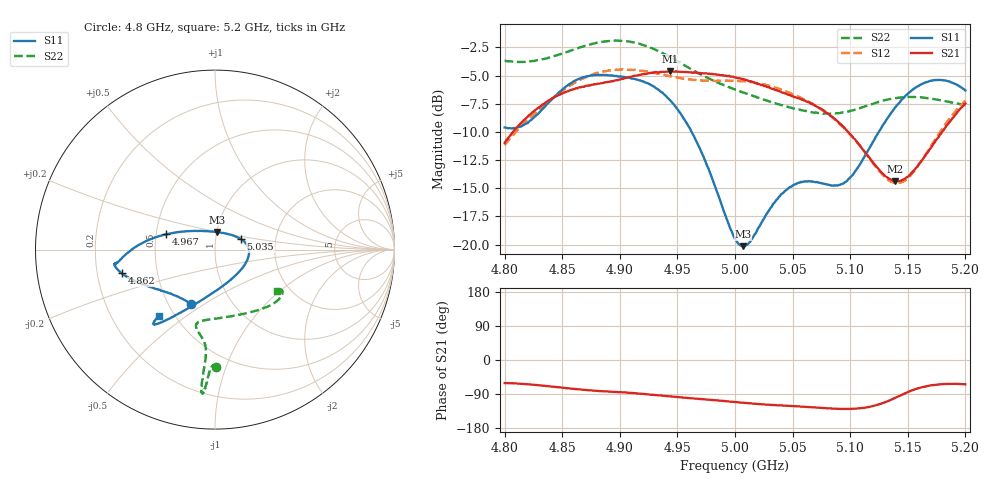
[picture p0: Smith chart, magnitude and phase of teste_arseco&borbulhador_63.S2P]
! Network Analyzer HP8722D
! Hewlett-Packard
! Data name: Linha & Wilkinson
! Saver's name: Rodrigo Anjos
! Comments: Teste da utilização de aquisição
! continua pelo VNA HP8722D
! Time and date: 15/4/2025 16:09
!  Frequency  S11  S21  S12  S22
# HZ  S  MA R 50
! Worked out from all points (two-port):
!   401 points, 4.8 GHz to 5.2 GHz, reference 50 ohm
!   highest |S21| = -4.63 dB at 4.944 GHz (marker M1); lowest = -14.4 dB at 5.139 GHz (marker M2)
!   |S21| within 3 dB of the highest: 4.832 GHz to 5.069 GHz (236.8 MHz wide, 4.78 % of centre); 5.198522 GHz to end of sweep
!   lowest |S11| = -20.1 dB at 5.007 GHz (marker M3), VSWR 1.22, Z = 50.2 + j9.9 ohm
!   |S11| at or under -10 dB: 4.962 GHz to 5.125 GHz (162.6 MHz wide, 3.22 % of centre)
!   |S22| runs from -8.4 to -1.9 dB; largest |S21 - S12| = 0.88
!   S11 on the Smith chart (normalised r, x): 4.8 GHz: 0.65, -0.44; 4.862 GHz: 0.31, -0.11; 4.967 GHz: 0.57, +0.11; 5.035 GHz: 1.32, +0.16; 5.2 GHz: 0.41, -0.40
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4.8e9  0.3309 -113.9  0.2823 -60.8  0.2758 -175.1  0.6545 -89.5
4.819e9  0.3449 -133.7  0.365 -63.8  0.3533 -173.4  0.6488 -91.2
4.862e9  0.5357 -165.8  0.4941 -76.6  0.5263 -176.4  0.7404 -93.5
4.867e9  0.5489 -167.6  0.5006 -78.4  0.5424 -177.4  0.7544 -93.7
4.898e9  0.5576 -172.1  0.5364 -84.6  0.5968 176.2  0.8043 -95.0
4.934e9  0.485 -178.1  0.5811 -93.4  0.5734 171.9  0.7187 -95.6
4.944e9  0.4352 177.4  0.5871 -96.2  0.5579 172.0  0.6782 -95.3
4.967e9  0.2838 162.4  0.5772 -102.2  0.5351 173.9  0.5796 -94.9
5e9  0.106 106.9  0.5522 -111.0  0.533 176.5  0.4873 -99.3
5.007e9  0.09832 83.0  0.5425 -112.7  0.5309 176.3  0.4725 -100.8
5.013e9  0.1026 63.7  0.5303 -114.3  0.5263 176.1  0.4619 -102.3
5.035e9  0.1555 22.5  0.4847 -119.1  0.496 175.0  0.4238 -103.7
5.05e9  0.1827 6.7  0.4552 -121.7  0.4644 174.3  0.4031 -100.2
5.067e9  0.1907 -11.6  0.4211 -124.6  0.4226 174.0  0.3861 -91.8
5.087e9  0.1826 -44.0  0.3596 -128.5  0.3576 173.9  0.3813 -76.9
5.097e9  0.1909 -65.0  0.321 -129.2  0.3199 174.6  0.3885 -68.5
5.134e9  0.3737 -116.1  0.1957 -106.8  0.192 -159.8  0.4419 -43.4
5.139e9  0.4058 -119.2  0.1908 -100.0  0.1882 -151.8  0.4468 -41.2
5.151e9  0.4715 -124.3  0.2018 -83.6  0.1997 -132.9  0.452 -36.6
5.17e9  0.533 -128.7  0.2681 -67.0  0.2732 -113.2  0.4444 -32.1
5.184e9  0.5321 -130.0  0.3387 -63.1  0.3494 -107.2  0.4314 -31.1
5.2e9  0.4827 -130.4  0.423 -64.1  0.4351 -106.1  0.4156 -33.4
